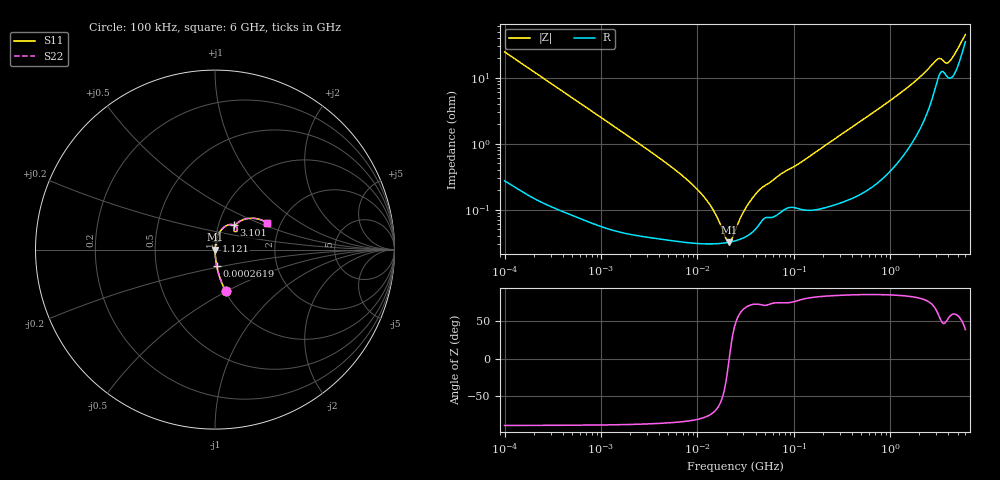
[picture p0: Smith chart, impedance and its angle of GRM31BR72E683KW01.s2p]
!Murata Part Number: GRM31BR72E683KW01
!These Parameters are Measured in Series Mode Connection
!Data Generated on Mar 30, 2021
!  o--ll--o
!Port1  Port2
!  o------o
!Operation Temp=25[degC], DC Bias Voltage=0[V]
!Freq. Start=100[kHz] Stop=6[GHz] 401[Steps]
# Hz S RI R 50
!Freq.(Hz) S11(Real) S11(Imag) S21(Real) S21(Imag) S12(Real) S12(Imag) S22(Real) S22(Imag)
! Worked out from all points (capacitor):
!   401 points, 100 kHz to 6 GHz, reference 50 ohm
!   read as one part in series: C = 64.7 nF near 105.7 kHz
!   lowest |Z| = 32.1 mohm at 21.35 MHz (marker M1)
!   series resonance near 21.34 MHz, so ESL is about 860 pH
!   S11 on the Smith chart (normalised r, x): 100 kHz: 1.01, -0.49; 261.9 kHz: 1.00, -0.19; 1.121 GHz: 1.01, +0.10; 3.101 GHz: 1.19, +0.33; 6 GHz: 1.70, +0.57
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100000  0.0592 -0.2305  0.9408 0.2305  0.9408 0.2305  0.0592 -0.2305
261871  0.01 -0.0933  0.99 0.0933  0.99 0.0933  0.01 -0.0933
631452  0.00225 -0.0392  0.9977 0.0392  0.9977 0.0392  0.00225 -0.0392
3987316  0.000397 -0.0061  0.9996 0.0061  0.9996 0.0061  0.000397 -0.0061
7506273  0.000327 -0.00297  0.9997 0.00297  0.9997 0.00297  0.000327 -0.00297
1.133979e7  0.000306 -0.00162  0.9997 0.00162  0.9997 0.00162  0.000306 -0.00162
1.452491e7  0.000303 -0.000946  0.9997 0.000946  0.9997 0.000946  0.000303 -0.000946
1.965679e7  0.000314 -0.000198  0.9997 0.000198  0.9997 0.000198  0.000314 -0.000198
2.134758e7  0.00032 1.3e-06  0.9997 -1.3e-06  0.9997 -1.3e-06  0.00032 1.3e-06
2.255483e7  0.000326 0.000134  0.9997 -0.000134  0.9997 -0.000134  0.000326 0.000134
2.517799e7  0.000339 0.000402  0.9997 -0.000402  0.9997 -0.000402  0.000339 0.000402
3.224998e7  0.000394 0.00103  0.9996 -0.00103  0.9996 -0.00103  0.000394 0.00103
4.36444e7  0.000596 0.00188  0.9994 -0.00188  0.9994 -0.00188  0.000596 0.00188
7.360219e7  0.000931 0.00335  0.9991 -0.00335  0.9991 -0.00335  0.000931 0.00335
1.546735e8  0.00102 0.00676  0.999 -0.00676  0.999 -0.00676  0.00102 0.00676
9.76689e8  0.00559 0.0435  0.9944 -0.0435  0.9944 -0.0435  0.00559 0.0435
1.120684e9  0.00712 0.0502  0.9929 -0.0502  0.9929 -0.0502  0.00712 0.0502
2.229039e9  0.0337 0.1081  0.9663 -0.1081  0.9663 -0.1081  0.0337 0.1081
3.100717e9  0.1064 0.1364  0.8936 -0.1364  0.8936 -0.1364  0.1064 0.1364
3.971646e9  0.1047 0.1104  0.8953 -0.1104  0.8953 -0.1104  0.1047 0.1104
4.814911e9  0.1449 0.1616  0.8551 -0.1616  0.8551 -0.1616  0.1449 0.1616
6e9  0.291 0.1486  0.709 -0.1486  0.709 -0.1486  0.291 0.1486
